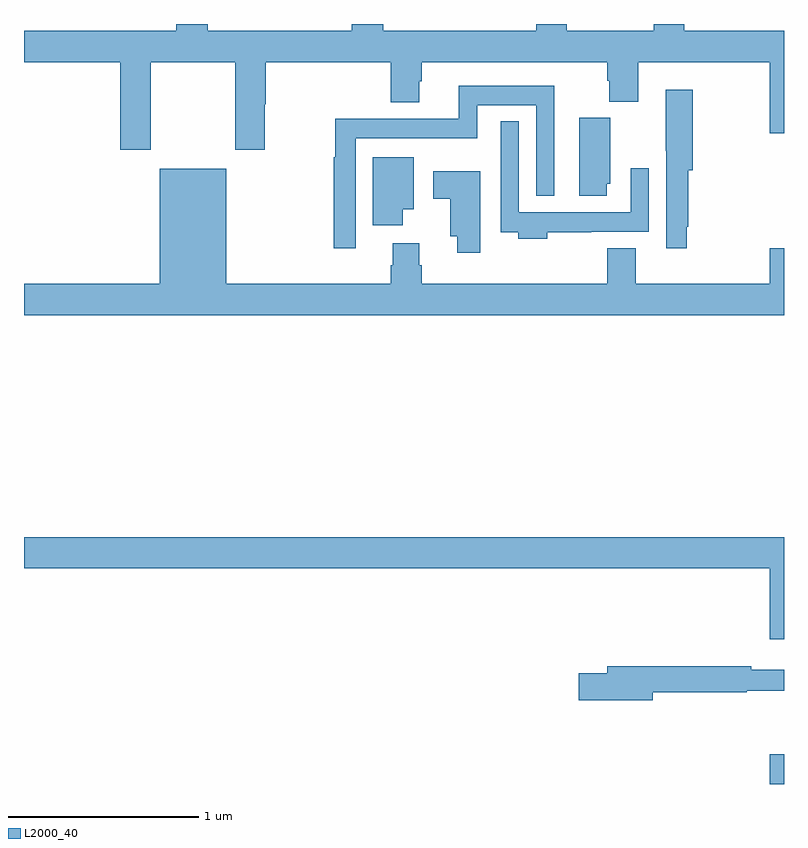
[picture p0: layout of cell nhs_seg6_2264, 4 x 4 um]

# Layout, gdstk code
import gdstk
lib = gdstk.Library(unit=1e-6, precision=1e-09)
def R(c, l, rs):  # rectangles x0, y0, x1, y1
    for r in rs: c.add(gdstk.rectangle(r[:2], r[2:], *l))
def P(c, l, *ps):  # polygons
    for p in ps: c.add(gdstk.Polygon(p, *l))
L2000_40 = (2000, 40)

nhs_seg6_2264 = lib.new_cell('nhs_seg6_2264')
R(nhs_seg6_2264, L2000_40, [(248.924,979.5,249,979.657)])
P(nhs_seg6_2264, L2000_40, [(247.857,983.5),(247.697,983.5),(247.697,983.464),(246.89,983.464),(246.89,983.5),(246.725,983.5),(246.725,983.464),(245.966,983.464),(245.966,983.5),(245.801,983.5),(245.801,983.464),(245,983.464),(245,983.3),(245.507,983.3),(245.507,982.839),(245.667,982.839),(245.667,983.3),(246.112,983.3),(246.112,982.839),(246.267,982.839),(246.267,983.078),(246.272,983.078),(246.272,983.3),(246.929,983.3),(246.929,983.087),(247.081,983.087),(247.081,983.199),(247.094,983.199),(247.094,983.3),(248.069,983.3),(248.069,983.201),(248.081,983.201),(248.081,983.092),(248.234,983.092),(248.234,983.3),(248.924,983.3),(248.924,982.926),(249,982.926),(249,983.464),(248.474,983.464),(248.474,983.5),(248.314,983.5),(248.314,983.464),(247.857,983.464)],
  [(246.747,982.898),(247.386,982.898),(247.386,983.072),(247.695,983.072),(247.695,982.595),(247.792,982.595),(247.792,983.176),(247.289,983.176),(247.289,983.002),(246.639,983.002),(246.639,982.798),(246.631,982.798),(246.631,982.32),(246.747,982.32)],
  [(248.488,982.432),(248.495,982.432),(248.495,982.73),(248.52,982.73),(248.52,983.155),(248.378,983.155),(248.378,982.834),(248.379,982.834),(248.379,982.32),(248.488,982.32)],
  [(248.068,982.659),(248.086,982.659),(248.086,983.007),(247.922,983.007),(247.922,982.596),(248.068,982.596)],
  [(247.754,982.404),(247.985,982.404),(247.985,982.406),(248.289,982.406),(248.289,982.741),(248.193,982.741),(248.193,982.51),(247.605,982.51),(247.605,982.987),(247.509,982.987),(247.509,982.404),(247.601,982.404),(247.601,982.37),(247.754,982.37)],
  [(246.994,982.526),(247.051,982.526),(247.051,982.798),(246.836,982.798),(246.836,982.44),(246.994,982.44)],
  [(249,982.321),(248.924,982.321),(248.924,982.132),(248.221,982.132),(248.221,982.321),(248.069,982.321),(248.069,982.132),(247.094,982.132),(247.094,982.23),(247.081,982.23),(247.081,982.345),(246.941,982.345),(246.941,982.23),(246.929,982.23),(246.929,982.132),(246.064,982.132),(246.064,982.738),(245.714,982.738),(245.714,982.132),(245,982.132),(245,981.968),(249,981.968)],
  [(247.402,982.726),(247.155,982.726),(247.155,982.579),(247.244,982.579),(247.244,982.382),(247.28,982.382),(247.28,982.296),(247.402,982.296)],
  [(249,980.8),(245,980.8),(245,980.636),(248.924,980.636),(248.924,980.262),(249,980.262)],
  [(248.308,979.984),(248.804,979.984),(248.804,979.992),(249,979.992),(249,980.101),(248.828,980.101),(248.828,980.12),(248.069,980.12),(248.069,980.084),(247.92,980.084),(247.92,979.942),(248.308,979.942)])

lib.write_gds('nhs_seg6_2264.gds')
